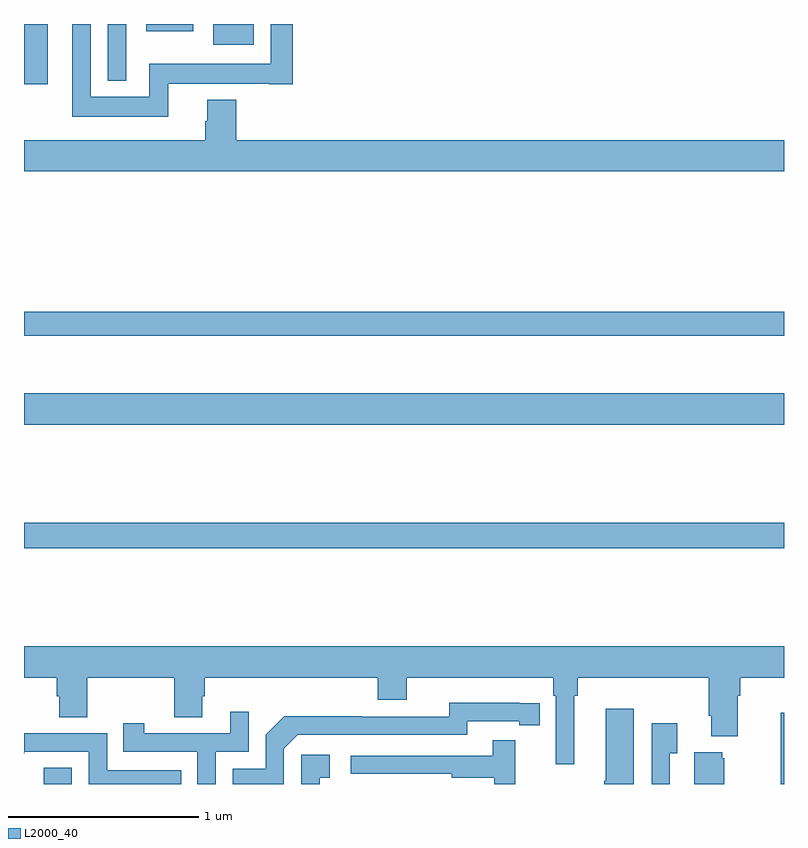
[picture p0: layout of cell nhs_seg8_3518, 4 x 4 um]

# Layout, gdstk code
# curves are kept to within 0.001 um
import gdstk
lib = gdstk.Library(unit=1e-6, precision=1e-09)
def R(c, l, rs):  # rectangles x0, y0, x1, y1
    for r in rs: c.add(gdstk.rectangle(r[:2], r[2:], *l))
def P(c, l, *ps):  # polygons
    for p in ps: c.add(gdstk.Polygon(p, *l))
L2000_40 = (2000, 40)

nhs_seg8_3518 = lib.new_cell('nhs_seg8_3518')
R(nhs_seg8_3518, L2000_40, [(327.105,1155.9,327.252,1155.985), (327,1157.14,331,1157.276), (327,1157.792,331,1157.956), (327,1158.258,331,1158.386), (327,1159.582,327.124,1159.9), (327.441,1159.601,327.537,1159.9), (327.995,1159.79,328.21,1159.9), (327.644,1159.862,327.892,1159.9)])
P(nhs_seg8_3518, L2000_40, [(327.758,1159.586),(328.292,1159.586),(328.292,1159.584),(328.415,1159.584),(328.415,1159.9),(328.299,1159.9),(328.299,1159.69),(327.66,1159.69),(327.66,1159.516),(327.351,1159.516),(327.351,1159.9),(327.254,1159.9),(327.254,1159.412),(327.758,1159.412)],
  [(331,1159.288),(328.118,1159.288),(328.118,1159.501),(327.965,1159.501),(327.965,1159.389),(327.953,1159.389),(327.953,1159.288),(327,1159.288),(327,1159.124),(331,1159.124)],
  [(329.896,1156.364),(329.915,1156.364),(329.915,1156.46),(330.605,1156.46),(330.605,1156.258),(330.617,1156.258),(330.617,1156.151),(330.757,1156.151),(330.757,1156.364),(330.77,1156.364),(330.77,1156.46),(331,1156.46),(331,1156.624),(327,1156.624),(327,1156.46),(327.173,1156.46),(327.173,1156.362),(327.185,1156.362),(327.185,1156.252),(327.333,1156.252),(327.333,1156.46),(327.79,1156.46),(327.79,1156.252),(327.937,1156.252),(327.937,1156.362),(327.95,1156.362),(327.95,1156.46),(328.862,1156.46),(328.862,1156.343),(329.014,1156.343),(329.014,1156.46),(329.786,1156.46),(329.786,1156.364),(329.799,1156.364),(329.799,1156.005),(329.896,1156.005)],
  [(328.368,1156.086),(328.44,1156.158),(329.334,1156.158),(329.334,1156.23),(329.606,1156.23),(329.606,1156.21),(329.714,1156.21),(329.714,1156.326),(329.238,1156.327),(329.238,1156.254),(328.778,1156.254),(328.778,1156.256),(328.37,1156.256),(328.272,1156.158),(328.272,1155.981),(328.098,1155.981),(328.098,1155.9),(328.368,1155.9)],
  [(330.208,1156.297),(330.062,1156.297),(330.062,1155.917),(330.055,1155.917),(330.055,1155.9),(330.208,1155.9)],
  [(328.008,1156.071),(328.182,1156.071),(328.182,1156.279),(328.085,1156.279),(328.085,1156.167),(327.634,1156.167),(327.634,1156.219),(327.523,1156.219),(327.523,1156.071),(327.912,1156.071),(327.912,1155.9),(328.008,1155.9)],
  [(331,1156.274),(330.982,1156.274),(330.982,1155.967),(330.984,1155.967),(330.984,1155.9),(331,1155.9)],
  [(330.399,1156.063),(330.439,1156.063),(330.439,1156.219),(330.303,1156.219),(330.303,1155.9),(330.399,1155.9)],
  [(327.827,1155.972),(327.438,1155.972),(327.438,1156.167),(327,1156.167),(327,1156.059),(327.001,1156.059),(327.001,1156.071),(327.342,1156.071),(327.342,1155.9),(327.827,1155.9)],
  [(329.585,1156.129),(329.467,1156.129),(329.467,1156.05),(328.719,1156.05),(328.719,1155.954),(329.251,1155.954),(329.251,1155.934),(329.475,1155.934),(329.475,1155.9),(329.585,1155.9)],
  [(330.685,1156.035),(330.674,1156.035),(330.674,1156.066),(330.527,1156.066),(330.527,1155.9),(330.685,1155.9)],
  [(328.556,1155.933),(328.609,1155.933),(328.609,1156.054),(328.458,1156.054),(328.458,1155.9),(328.556,1155.9)])

lib.write_gds('nhs_seg8_3518.gds')
